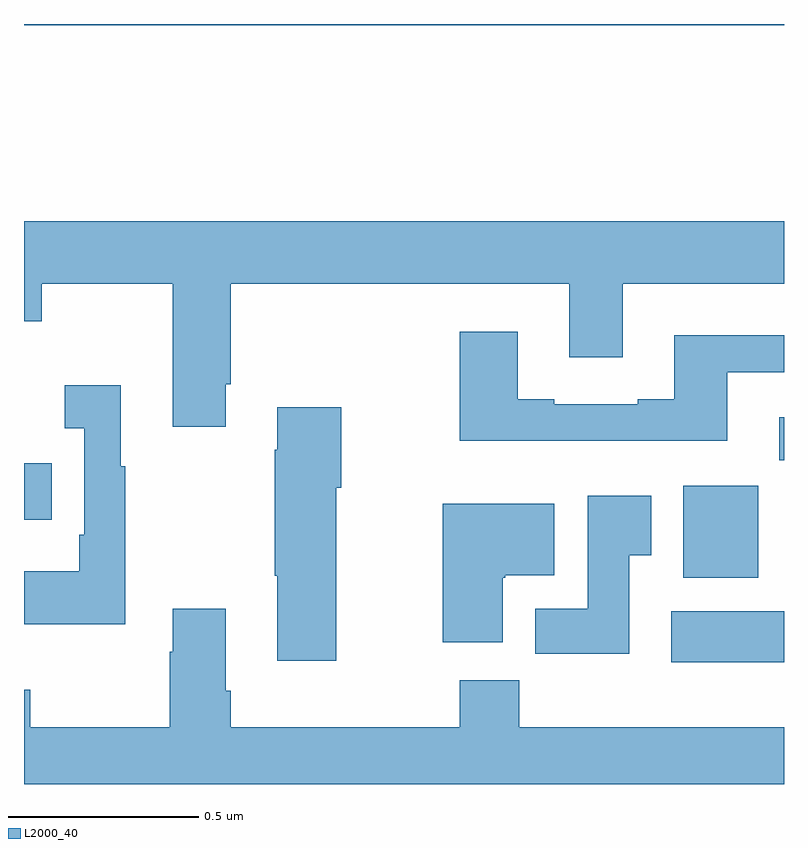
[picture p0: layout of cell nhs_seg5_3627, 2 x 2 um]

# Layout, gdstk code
import gdstk
lib = gdstk.Library(unit=1e-6, precision=1e-09)
def R(c, l, rs):  # rectangles x0, y0, x1, y1
    for r in rs: c.add(gdstk.rectangle(r[:2], r[2:], *l))
def P(c, l, *ps):  # polygons
    for p in ps: c.add(gdstk.Polygon(p, *l))
L2000_40 = (2000, 40)

nhs_seg5_3627 = lib.new_cell('nhs_seg5_3627')
R(nhs_seg5_3627, L2000_40, [(161.703,833.12,162,833.254), (161.735,833.342,161.932,833.584), (160,833.495,160.073,833.643), (161.987,833.651,162,833.764), (160,834.796,162,834.799)])
P(nhs_seg5_3627, L2000_40, [(160.531,833.851),(160.544,833.851),(160.544,834.116),(161.435,834.116),(161.435,833.922),(161.575,833.922),(161.575,834.116),(162,834.116),(162,834.28),(160,834.28),(160,834.017),(160.047,834.017),(160.047,834.116),(160.391,834.116),(160.391,833.739),(160.531,833.739)],
  [(161.851,833.883),(162,833.883),(162,833.98),(161.711,833.98),(161.711,833.812),(161.615,833.812),(161.615,833.799),(161.395,833.799),(161.395,833.812),(161.299,833.812),(161.299,833.989),(161.147,833.989),(161.147,833.702),(161.851,833.702)],
  [(160.267,833.635),(160.255,833.635),(160.255,833.848),(160.107,833.848),(160.107,833.735),(160.158,833.735),(160.158,833.455),(160.146,833.455),(160.146,833.359),(160,833.359),(160,833.219),(160.267,833.219)],
  [(160.822,833.578),(160.835,833.578),(160.835,833.791),(160.667,833.791),(160.667,833.678),(160.66,833.678),(160.66,833.347),(160.667,833.347),(160.667,833.124),(160.822,833.124)],
  [(161.593,833.401),(161.65,833.401),(161.65,833.557),(161.483,833.557),(161.483,833.26),(161.345,833.26),(161.345,833.142),(161.593,833.142)],
  [(161.26,833.342),(161.266,833.342),(161.266,833.348),(161.395,833.348),(161.395,833.536),(161.102,833.536),(161.102,833.172),(161.26,833.172)],
  [(162,832.948),(161.303,832.948),(161.303,833.072),(161.147,833.072),(161.147,832.948),(160.544,832.948),(160.544,833.044),(160.531,833.044),(160.531,833.26),(160.391,833.26),(160.391,833.147),(160.384,833.147),(160.384,832.948),(160.017,832.948),(160.017,833.047),(160,833.047),(160,832.799),(162,832.799)])

lib.write_gds('nhs_seg5_3627.gds')
